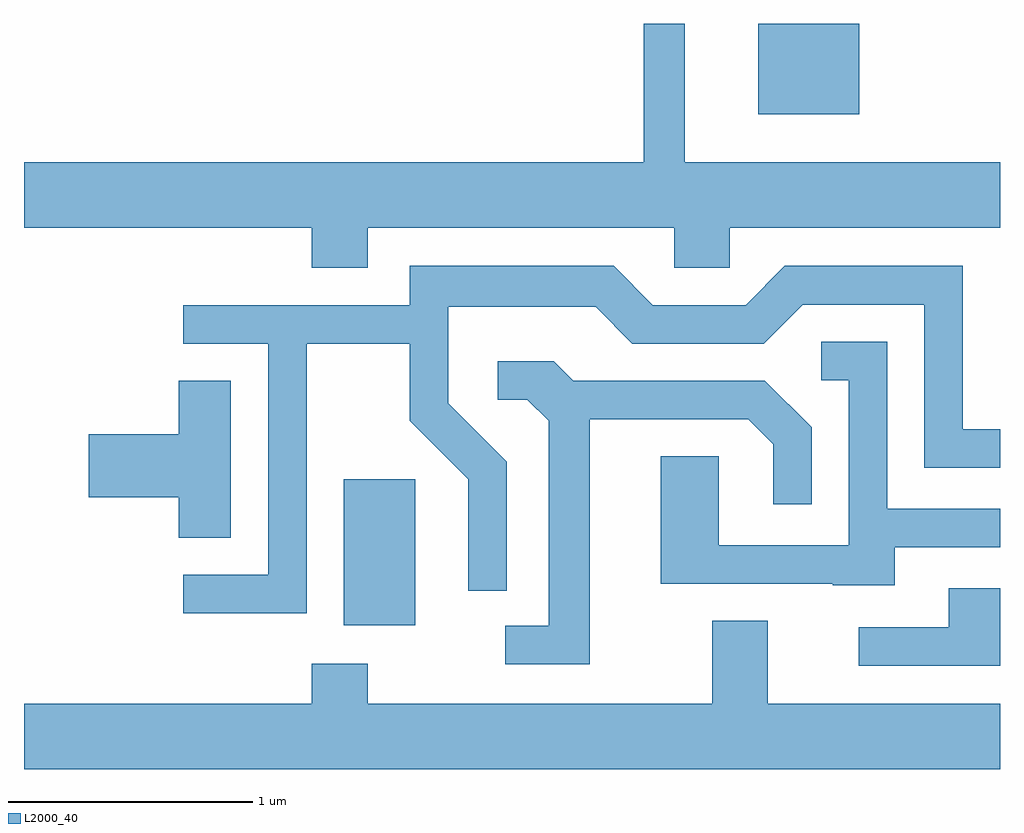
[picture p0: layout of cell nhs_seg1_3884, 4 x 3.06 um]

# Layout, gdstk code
import gdstk
lib = gdstk.Library(unit=1e-6, precision=1e-09)
def R(c, l, rs):  # rectangles x0, y0, x1, y1
    for r in rs: c.add(gdstk.rectangle(r[:2], r[2:], *l))
def P(c, l, *ps):  # polygons
    for p in ps: c.add(gdstk.Polygon(p, *l))
L2000_40 = (2000, 40)

nhs_seg1_3884 = lib.new_cell('nhs_seg1_3884')
R(nhs_seg1_3884, L2000_40, [(302.921,931.246,303.214,931.844), (304.621,933.341,305.034,933.712)])
P(nhs_seg1_3884, L2000_40, [(304.276,932.711),(304.504,932.711),(304.504,932.876),(305.611,932.876),(305.611,933.144),(304.319,933.144),(304.319,933.712),(304.151,933.712),(304.151,933.144),(301.611,933.144),(301.611,932.876),(302.791,932.876),(302.791,932.711),(303.019,932.711),(303.019,932.876),(304.276,932.876)],
  [(302.769,932.401),(303.191,932.401),(303.191,932.084),(303.431,931.844),(303.431,931.388),(303.589,931.388),(303.589,931.917),(303.349,932.157),(303.349,932.551),(303.954,932.551),(304.104,932.401),(304.642,932.401),(304.802,932.561),(305.301,932.561),(305.301,931.891),(305.611,931.891),(305.611,932.049),(305.459,932.049),(305.459,932.719),(304.729,932.719),(304.569,932.559),(304.187,932.559),(304.027,932.719),(303.191,932.719),(303.191,932.559),(302.263,932.559),(302.263,932.401),(302.611,932.401),(302.611,931.454),(302.263,931.454),(302.263,931.296),(302.769,931.296)],
  [(305.179,931.566),(305.611,931.566),(305.611,931.724),(305.149,931.724),(305.149,932.409),(304.878,932.409),(304.878,932.251),(304.991,932.251),(304.991,931.574),(304.459,931.574),(304.459,931.939),(304.221,931.939),(304.221,931.416),(304.925,931.416),(304.925,931.411),(305.179,931.411)],
  [(303.929,932.091),(304.579,932.091),(304.681,931.989),(304.681,931.743),(304.839,931.743),(304.839,932.057),(304.647,932.249),(303.862,932.249),(303.782,932.329),(303.553,932.329),(303.553,932.171),(303.674,932.171),(303.761,932.084),(303.761,931.244),(303.583,931.244),(303.583,931.086),(303.929,931.086)],
  [(302.459,932.249),(302.246,932.249),(302.246,932.029),(301.876,932.029),(301.876,931.771),(302.246,931.771),(302.246,931.606),(302.459,931.606)],
  [(305.611,931.399),(305.401,931.399),(305.401,931.239),(305.033,931.239),(305.033,931.081),(305.611,931.081)],
  [(305.611,930.924),(304.659,930.924),(304.659,931.264),(304.431,931.264),(304.431,930.924),(303.019,930.924),(303.019,931.089),(302.791,931.089),(302.791,930.924),(301.611,930.924),(301.611,930.656),(305.611,930.656)])

lib.write_gds('nhs_seg1_3884.gds')
